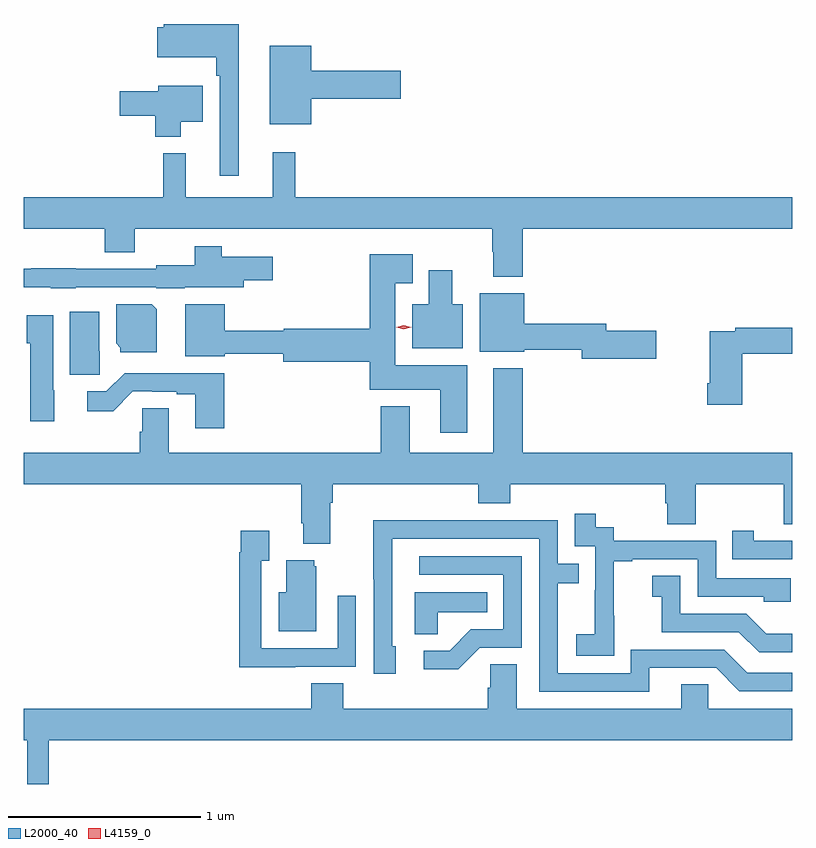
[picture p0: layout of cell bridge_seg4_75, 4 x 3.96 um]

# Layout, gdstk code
import gdstk
lib = gdstk.Library(unit=1e-6, precision=1e-09)
def P(c, l, *ps):  # polygons
    for p in ps: c.add(gdstk.Polygon(p, *l))
L2000_40 = (2000, 40)
L4159_0 = (4159, 0)

bridge_seg4_75 = lib.new_cell('bridge_seg4_75')
P(bridge_seg4_75, L2000_40, [(496.114,820.529),(495.724,820.529),(495.724,820.513),(495.69,820.513),(495.69,820.355),(495.997,820.355),(495.997,820.259),(496.017,820.259),(496.017,819.738),(496.114,819.738)],
  [(496.492,820.139),(496.957,820.139),(496.957,820.286),(496.492,820.286),(496.492,820.417),(496.277,820.417),(496.277,820.007),(496.492,820.007)],
  [(495.814,820.019),(495.928,820.019),(495.928,820.207),(495.696,820.207),(495.696,820.18),(495.495,820.18),(495.495,820.051),(495.68,820.051),(495.68,819.941),(495.814,819.941)],
  [(496.409,819.862),(496.292,819.862),(496.292,819.628),(495.839,819.628),(495.839,819.856),(495.721,819.856),(495.721,819.628),(494.996,819.628),(494.996,819.464),(495.418,819.464),(495.418,819.34),(495.573,819.34),(495.573,819.464),(497.434,819.464),(497.434,819.344),(497.441,819.344),(497.441,819.212),(497.594,819.212),(497.594,819.464),(498.996,819.464),(498.996,819.628),(496.409,819.628)],
  [(495.267,819.159),(495.684,819.159),(495.684,819.152),(495.834,819.152),(495.834,819.158),(496.141,819.158),(496.141,819.194),(496.291,819.194),(496.291,819.316),(496.025,819.316),(496.025,819.373),(495.885,819.373),(495.885,819.274),(495.684,819.274),(495.684,819.255),(495.267,819.255),(495.267,819.257),(495.035,819.257),(495.035,819.255),(494.996,819.255),(494.996,819.158),(495.135,819.158),(495.135,819.152),(495.267,819.152)],
  [(497.305,818.752),(496.93,818.752),(496.93,819.179),(497.02,819.179),(497.02,819.331),(496.796,819.331),(496.796,818.942),(496.35,818.942),(496.35,818.931),(496.042,818.931),(496.042,819.07),(495.836,819.07),(495.836,818.798),(496.042,818.798),(496.042,818.812),(496.346,818.812),(496.346,818.77),(496.796,818.77),(496.796,818.624),(497.165,818.624),(497.165,818.4),(497.305,818.4)],
  [(497.281,819.07),(497.227,819.07),(497.227,819.247),(497.105,819.247),(497.105,819.07),(497.018,819.07),(497.018,818.84),(497.281,818.84)],
  [(498.289,818.933),(498.028,818.933),(498.028,818.969),(497.602,818.969),(497.602,819.127),(497.369,819.127),(497.369,818.822),(497.602,818.822),(497.602,818.833),(497.9,818.833),(497.9,818.786),(498.289,818.786)],
  [(495.688,819.044),(495.662,819.07),(495.476,819.07),(495.476,818.866),(495.498,818.844),(495.498,818.819),(495.688,818.819)],
  [(495.392,818.826),(495.388,818.826),(495.388,819.031),(495.236,819.031),(495.236,818.703),(495.392,818.703)],
  [(495.154,818.622),(495.148,818.622),(495.148,819.013),(495.011,819.013),(495.011,818.868),(495.029,818.868),(495.029,818.46),(495.154,818.46)],
  [(498.737,818.812),(498.996,818.812),(498.996,818.948),(498.7,818.948),(498.7,818.928),(498.566,818.928),(498.566,818.659),(498.554,818.659),(498.554,818.547),(498.737,818.547)],
  [(496.591,818.036),(496.604,818.036),(496.604,818.132),(497.363,818.132),(497.363,818.033),(497.528,818.033),(497.528,818.132),(498.335,818.132),(498.335,818.034),(498.347,818.034),(498.347,817.924),(498.495,817.924),(498.495,818.132),(498.952,818.132),(498.952,817.924),(498.996,817.924),(498.996,818.296),(497.594,818.296),(497.594,818.737),(497.441,818.737),(497.441,818.296),(497.005,818.296),(497.005,818.539),(496.853,818.539),(496.853,818.296),(495.751,818.296),(495.751,818.528),(495.612,818.528),(495.612,818.406),(495.599,818.406),(495.599,818.296),(494.996,818.296),(494.996,818.132),(496.439,818.132),(496.439,817.93),(496.451,817.93),(496.451,817.823),(496.591,817.823)],
  [(496.04,818.71),(495.52,818.71),(495.426,818.616),(495.327,818.616),(495.327,818.514),(495.462,818.514),(495.564,818.616),(495.664,818.616),(495.664,818.613),(495.791,818.613),(495.791,818.601),(495.887,818.601),(495.887,818.424),(496.04,818.424)],
  [(498.069,817.447),(498.068,817.447),(498.068,817.731),(498.163,817.731),(498.163,817.743),(498.504,817.743),(498.504,817.548),(498.849,817.548),(498.849,817.521),(498.989,817.521),(498.989,817.644),(498.6,817.644),(498.6,817.839),(498.066,817.839),(498.066,817.908),(497.974,817.908),(497.974,817.978),(497.865,817.978),(497.865,817.809),(497.97,817.809),(497.97,817.58),(497.969,817.58),(497.969,817.351),(497.871,817.351),(497.871,817.241),(498.069,817.241)],
  [(498.253,817.176),(498.6,817.176),(498.72,817.056),(498.996,817.056),(498.996,817.152),(498.762,817.152),(498.642,817.272),(498.156,817.272),(498.156,817.149),(497.775,817.149),(497.775,817.618),(497.885,817.618),(497.885,817.719),(497.775,817.719),(497.775,817.944),(497.279,817.944),(497.279,817.946),(496.816,817.946),(496.816,817.639),(496.818,817.639),(496.818,817.146),(496.933,817.146),(496.933,817.29),(496.914,817.29),(496.914,817.848),(497.679,817.848),(497.679,817.053),(498.253,817.053)],
  [(498.996,817.839),(498.796,817.839),(498.796,817.891),(498.685,817.891),(498.685,817.743),(498.996,817.743)],
  [(496.409,817.182),(496.725,817.182),(496.725,817.552),(496.629,817.552),(496.629,817.278),(496.233,817.278),(496.233,817.735),(496.273,817.735),(496.273,817.891),(496.125,817.891),(496.125,817.778),(496.117,817.778),(496.117,817.181),(496.409,817.181)],
  [(497.37,817.281),(497.589,817.281),(497.589,817.758),(497.055,817.758),(497.055,817.662),(497.493,817.662),(497.493,817.377),(497.324,817.377),(497.213,817.266),(497.079,817.266),(497.079,817.169),(497.257,817.169)],
  [(496.519,817.707),(496.508,817.707),(496.508,817.738),(496.361,817.738),(496.361,817.57),(496.322,817.57),(496.322,817.367),(496.519,817.367)],
  [(498.996,817.354),(498.86,817.354),(498.756,817.458),(498.414,817.458),(498.414,817.657),(498.267,817.657),(498.267,817.547),(498.316,817.547),(498.316,817.362),(498.719,817.362),(498.824,817.257),(498.996,817.257)],
  [(497.151,817.466),(497.408,817.466),(497.408,817.57),(497.03,817.57),(497.03,817.351),(497.151,817.351)],
  [(495.126,816.8),(498.996,816.8),(498.996,816.964),(498.558,816.964),(498.558,817.091),(498.419,817.091),(498.419,816.964),(497.563,816.964),(497.563,817.196),(497.424,817.196),(497.424,817.073),(497.411,817.073),(497.411,816.964),(496.658,816.964),(496.658,817.097),(496.493,817.097),(496.493,816.964),(494.996,816.964),(494.996,816.8),(495.014,816.8),(495.014,816.572),(495.126,816.572)])
P(bridge_seg4_75, L4159_0, [(496.974,818.94),(496.934,818.95),(496.934,818.95),(496.934,818.95),(496.973,818.96),(497.013,818.95),(497.013,818.95),(497.013,818.95)])

lib.write_gds('bridge_seg4_75.gds')
